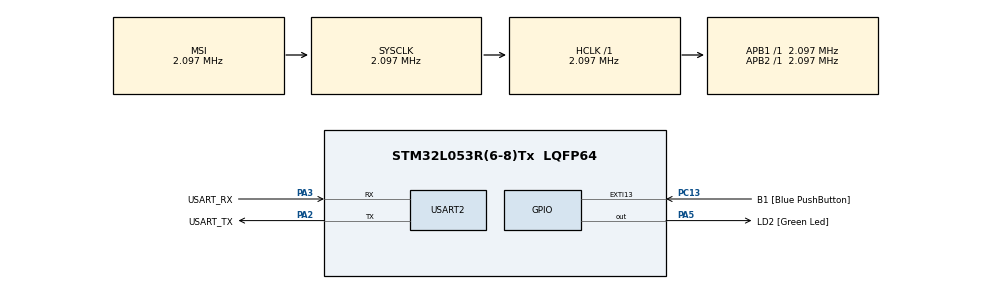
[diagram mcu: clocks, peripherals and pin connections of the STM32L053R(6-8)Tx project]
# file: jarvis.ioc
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Mcu.Family=STM32L0
Mcu.Name=STM32L053R(6-8)Tx
Mcu.Package=LQFP64
PA13.GPIO_Label=TMS
PA13.Mode=Serial_Wire
PA13.Signal=SYS_SWDIO
PA14.GPIO_Label=TCK
PA14.Mode=Serial_Wire
PA14.Signal=SYS_SWCLK
PA2.GPIO_Label=USART_TX
PA2.Mode=Asynchronous
PA2.Signal=USART2_TX
PA3.GPIO_Label=USART_RX
PA3.Mode=Asynchronous
PA3.Signal=USART2_RX
PA5.GPIO_Label=LD2 [Green Led]
PA5.Signal=GPIO_Output
PC13.GPIO_Label=B1 [Blue PushButton]
PC13.GPIO_ModeDefaultEXTI=GPIO_MODE_IT_FALLING
PC13.Signal=GPXTI13
PC14-OSC32_IN.Mode=LSE-External-Oscillator
PC14-OSC32_IN.Signal=RCC_OSC32_IN
PC15-OSC32_OUT.Mode=LSE-External-Oscillator
PC15-OSC32_OUT.Signal=RCC_OSC32_OUT
PH0-OSC_IN.Mode=HSE-External-Clock-Source
PH0-OSC_IN.Signal=RCC_OSC_IN
PH1-OSC_OUT.Signal=RCC_OSC_OUT
ProjectManager.HeapSize=0x200
ProjectManager.StackSize=0x400
ProjectManager.TargetToolchain=Makefile
RCC.AHBFreq_Value=2097000
RCC.APB1Freq_Value=2097000
RCC.APB1TimFreq_Value=2097000
RCC.APB2Freq_Value=2097000
RCC.APB2TimFreq_Value=2097000
RCC.HSE_VALUE=8000000
RCC.HSI16_VALUE=16000000
RCC.HSI48_VALUE=48000000
RCC.HSI_VALUE=16000000
RCC.MSI_VALUE=2097000
RCC.SYSCLKFreq_VALUE=2097000
RCC.VCOOutputFreq_Value=48000000
USART2.VirtualMode-Asynchronous=VM_ASYNC
board=NUCLEO-L053R8

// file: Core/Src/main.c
/* USER CODE BEGIN Header */
/**
  ******************************************************************************
  * @file           : main.c
  * @brief          : Main program body
  ******************************************************************************
  * @attention
  *
  * Copyright (c) 2023 STMicroelectronics.
  * All rights reserved.
  *
  * This software is licensed under terms that can be found in the LICENSE file
  * in the root directory of this software component.
  * If no LICENSE file comes with this software, it is provided AS-IS.
  *
  ******************************************************************************
  */
/* USER CODE END Header */
#include "main.h"

/* USER CODE BEGIN Includes */
#include <stdbool.h>

/* USER CODE END Includes */

UART_HandleTypeDef huart2;

void SystemClock_Config(void);
static void MX_GPIO_Init(void);
static void MX_USART2_UART_Init(void);

/* USER CODE BEGIN 0 */

bool Button_ReadPush(void) {
  GPIO_PinState button_read;
  static bool button_state;
  static uint32_t button_cout;

  button_read = HAL_GPIO_ReadPin(GPIOC, GPIO_PIN_13);
  if (button_read == GPIO_PIN_RESET) {
    button_cout++;
  } else {
    button_cout = 0;
    button_state = false;
  }

  if (button_cout >= 40) {
    if (button_state == false) {
      button_state = true;

      return true;
    }
  }

  return false;
}

/* USER CODE END 0 */

int main(void)
{

  /* MCU Configuration--------------------------------------------------------*/

  /* Reset of all peripherals, Initializes the Flash interface and the Systick. */
  HAL_Init();

  /* Configure the system clock */
  SystemClock_Config();

  /* Initialize all configured peripherals */
  MX_GPIO_Init();
  MX_USART2_UART_Init();
  /* USER CODE BEGIN 2 */

  uint32_t main_count_new;
  uint32_t main_count_old;

  /* USER CODE END 2 */

  /* Infinite loop */
  /* USER CODE BEGIN WHILE */
  while (1)
  {
    main_count_new = HAL_GetTick();
    if (main_count_new != main_count_old) {
      main_count_old = main_count_new;
      if (Button_ReadPush()) {
        HAL_GPIO_TogglePin(LD2_GPIO_Port, LD2_Pin);
      }
    }

    /* USER CODE END WHILE */

  }
}

void SystemClock_Config(void)
{
  RCC_OscInitTypeDef RCC_OscInitStruct = {0};
  RCC_ClkInitTypeDef RCC_ClkInitStruct = {0};
  RCC_PeriphCLKInitTypeDef PeriphClkInit = {0};

  /** Configure the main internal regulator output voltage
  */
  __HAL_PWR_VOLTAGESCALING_CONFIG(PWR_REGULATOR_VOLTAGE_SCALE1);

  /** Initializes the RCC Oscillators according to the specified parameters
  * in the RCC_OscInitTypeDef structure.
  */
  RCC_OscInitStruct.OscillatorType = RCC_OSCILLATORTYPE_MSI;
  RCC_OscInitStruct.MSIState = RCC_MSI_ON;
  RCC_OscInitStruct.MSICalibrationValue = 0;
  RCC_OscInitStruct.MSIClockRange = RCC_MSIRANGE_5;
  RCC_OscInitStruct.PLL.PLLState = RCC_PLL_NONE;
  if (HAL_RCC_OscConfig(&RCC_OscInitStruct) != HAL_OK)
  {
    Error_Handler();
  }

  /** Initializes the CPU, AHB and APB buses clocks
  */
  RCC_ClkInitStruct.ClockType = RCC_CLOCKTYPE_HCLK|RCC_CLOCKTYPE_SYSCLK
                              |RCC_CLOCKTYPE_PCLK1|RCC_CLOCKTYPE_PCLK2;
  RCC_ClkInitStruct.SYSCLKSource = RCC_SYSCLKSOURCE_MSI;
  RCC_ClkInitStruct.AHBCLKDivider = RCC_SYSCLK_DIV1;
  RCC_ClkInitStruct.APB1CLKDivider = RCC_HCLK_DIV1;
  RCC_ClkInitStruct.APB2CLKDivider = RCC_HCLK_DIV1;

  if (HAL_RCC_ClockConfig(&RCC_ClkInitStruct, FLASH_LATENCY_0) != HAL_OK)
  {
    Error_Handler();
  }
  PeriphClkInit.PeriphClockSelection = RCC_PERIPHCLK_USART2;
  PeriphClkInit.Usart2ClockSelection = RCC_USART2CLKSOURCE_PCLK1;
  if (HAL_RCCEx_PeriphCLKConfig(&PeriphClkInit) != HAL_OK)
  {
    Error_Handler();
  }
}

static void MX_USART2_UART_Init(void)
{

  huart2.Instance = USART2;
  huart2.Init.BaudRate = 115200;
  huart2.Init.WordLength = UART_WORDLENGTH_8B;
  huart2.Init.StopBits = UART_STOPBITS_1;
  huart2.Init.Parity = UART_PARITY_NONE;
  huart2.Init.Mode = UART_MODE_TX_RX;
  huart2.Init.HwFlowCtl = UART_HWCONTROL_NONE;
  huart2.Init.OverSampling = UART_OVERSAMPLING_16;
  huart2.Init.OneBitSampling = UART_ONE_BIT_SAMPLE_DISABLE;
  huart2.AdvancedInit.AdvFeatureInit = UART_ADVFEATURE_NO_INIT;
  if (HAL_UART_Init(&huart2) != HAL_OK)
  {
    Error_Handler();
  }

}

static void MX_GPIO_Init(void)
{
  GPIO_InitTypeDef GPIO_InitStruct = {0};

  /* GPIO Ports Clock Enable */
  __HAL_RCC_GPIOC_CLK_ENABLE();
  __HAL_RCC_GPIOH_CLK_ENABLE();
  __HAL_RCC_GPIOA_CLK_ENABLE();

  /*Configure GPIO pin Output Level */
  HAL_GPIO_WritePin(LD2_GPIO_Port, LD2_Pin, GPIO_PIN_RESET);

  /*Configure GPIO pin : B1_Pin */
  GPIO_InitStruct.Pin = B1_Pin;
  GPIO_InitStruct.Mode = GPIO_MODE_IT_FALLING;
  GPIO_InitStruct.Pull = GPIO_NOPULL;
  HAL_GPIO_Init(B1_GPIO_Port, &GPIO_InitStruct);

  /*Configure GPIO pin : LD2_Pin */
  GPIO_InitStruct.Pin = LD2_Pin;
  GPIO_InitStruct.Mode = GPIO_MODE_OUTPUT_PP;
  GPIO_InitStruct.Pull = GPIO_NOPULL;
  GPIO_InitStruct.Speed = GPIO_SPEED_FREQ_LOW;
  HAL_GPIO_Init(LD2_GPIO_Port, &GPIO_InitStruct);

}

void Error_Handler(void)
{
  __disable_irq();
  while (1)
  {
  }
}
